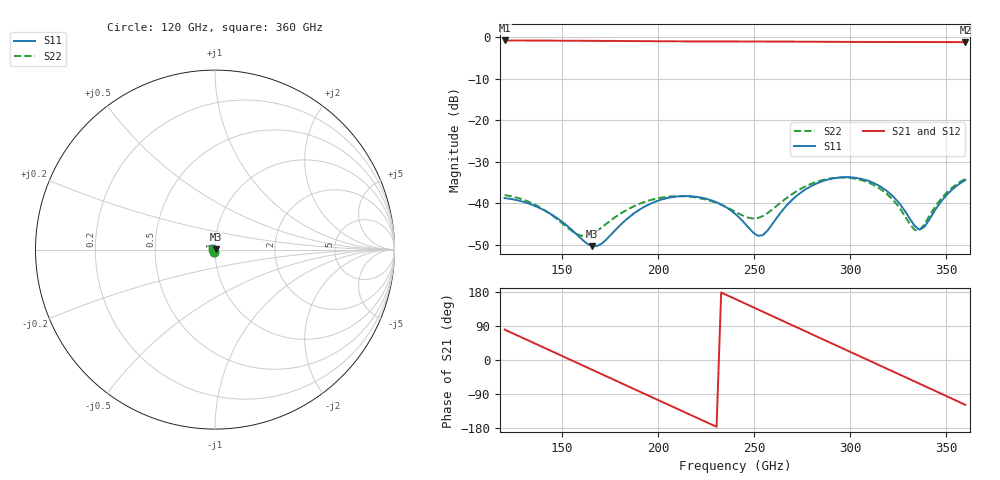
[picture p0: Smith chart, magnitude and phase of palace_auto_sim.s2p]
#  GHZ S DB R 50
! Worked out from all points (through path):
!   101 points, 120 GHz to 360 GHz, reference 50 ohm
!   highest |S21| = -0.75 dB at 120 GHz (marker M1); lowest = -1.2 dB at 360 GHz (marker M2)
!   group delay of S21, straight-line fit = 6.46 ps
!   lowest |S11| = -50.4 dB at 165.6 GHz (marker M3), VSWR 1.01, Z = 50.3 + j0.0929 ohm
!   |S11| at or under -10 dB: start of sweep to end of sweep
!   |S22| runs from -47.9 to -33.8 dB; largest |S21 - S12| = 1e-13
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120  -38.78 -112.2  -0.75 80.3  -0.75 80.3  -38.05 -111.0
129.6  -39.65 -146.0  -0.76 58.0  -0.76 58.0  -39.14 -144.6
141.6  -41.96 166.6  -0.78 30.1  -0.78 30.1  -41.91 166.5
151.2  -44.94 121.6  -0.80 7.7  -0.80 7.7  -45.28 115.9
160.8  -48.95 60.7  -0.83 -14.6  -0.83 -14.6  -47.94 43.1
165.6  -50.37 17.7  -0.84 -25.8  -0.84 -25.8  -47.42 2.4
184.8  -43.38 -122.3  -0.89 -70.5  -0.89 -70.5  -41.32 -108.7
201.6  -39.14 170.6  -0.94 -109.5  -0.94 -109.5  -38.65 -176.2
220.8  -38.52 108.1  -0.97 -154.0  -0.97 -154.0  -38.71 115.0
230.4  -39.78 77.8  -0.98 -176.3  -0.98 -176.3  -39.94 79.1
240  -42.53 42.6  -0.99 161.3  -0.99 161.3  -42.03 35.5
254.4  -47.72 -65.7  -1.00 127.7  -1.00 127.7  -43.11 -61.5
268.8  -39.63 -159.0  -1.03 94.1  -1.03 94.1  -38.11 -140.7
280.8  -35.61 160.0  -1.05 66.2  -1.05 66.2  -35.12 174.6
292.8  -33.89 124.2  -1.08 38.2  -1.08 38.2  -33.86 135.9
302.4  -33.85 96.4  -1.10 15.9  -1.10 15.9  -34.07 106.3
312  -35.08 67.8  -1.11 -6.4  -1.11 -6.4  -35.55 76.2
321.6  -38.05 35.6  -1.12 -28.7  -1.12 -28.7  -38.88 42.2
333.6  -45.48 -36.7  -1.13 -56.7  -1.13 -56.7  -46.47 -41.2
336  -46.37 -65.1  -1.13 -62.3  -1.13 -62.3  -46.56 -71.8
348  -39.21 -162.3  -1.14 -90.3  -1.14 -90.3  -38.58 -157.7
360  -34.42 156.6  -1.16 -118.3  -1.16 -118.3  -34.13 162.9
